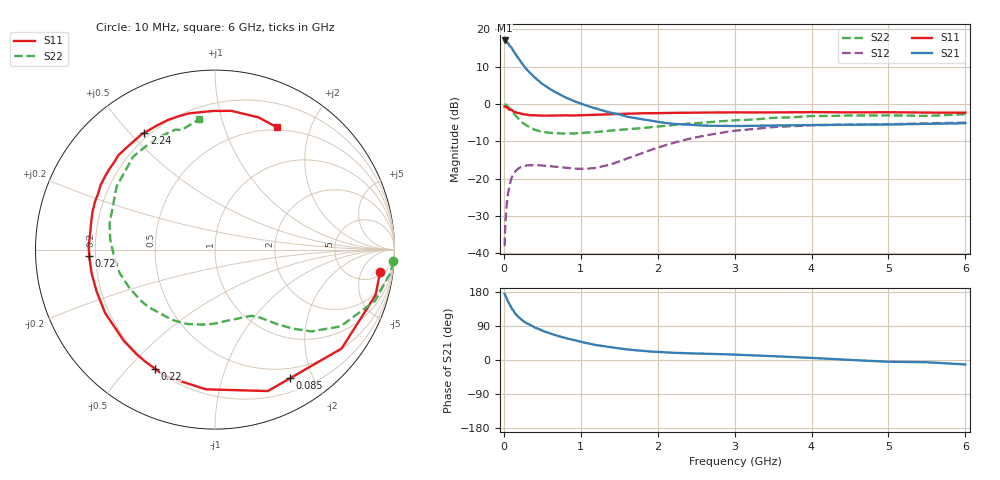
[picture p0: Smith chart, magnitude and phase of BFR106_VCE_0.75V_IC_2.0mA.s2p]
! Infineon Technologies  Discrete & RF Semiconductors
! BFR106
! VCE = 0.75 V,  IC =  2.0 mA
! Common Emitter S-Parameters:  Nov 2015
# GHz  S  MA  R  50
!  f  S11  S21  S12  S22
! GHz  MAG  ANG  MAG  ANG  MAG  ANG  MAG  ANG
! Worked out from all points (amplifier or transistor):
!   210 points, 10 MHz to 6 GHz, reference 50 ohm
!   highest |S21| = 17.0 dB at 10 MHz (marker M1)
!   |S21| within 3 dB of that: start of sweep to 130.7 MHz
!   unconditionally stable (mu >= 1): 754.4 MHz to end of sweep
!   at 185 MHz: K = 0.26, MSG = 14.9 dB, |S12| = -17.4 dB
!   at 1.52 GHz: K = 1.32, MAG = 2.8 dB, |S12| = -15.2 dB
!   at 6 GHz: K = 1.03, MAG = -1.1 dB, |S12| = -5.0 dB
!   S11 on the Smith chart (normalised r, x): 10 MHz: 6, -11; 85 MHz: 0.36, -1.68; 220 MHz: 0.20, -0.60; 720 MHz: 0.18, -0.02; 2.24 GHz: 0.18, +0.55; 6 GHz: 0.47, +1.52
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0.01  0.9281 -7.8  7.08 174.3  0.0125 87.1  0.9962 -3.8
0.02  0.93 -15.8  7.025 170.2  0.0251 81.8  0.9863 -7.5
0.05  0.8952 -38.0  6.595 155.6  0.0601 68.6  0.9361 -17.8
0.085  0.8299 -59.8  5.868 143.2  0.0893 55.9  0.8497 -26.9
0.1  0.8414 -69.5  5.656 137.0  0.1026 52.7  0.8203 -31.4
0.15  0.7802 -93.7  4.679 121.8  0.1263 40.5  0.7048 -40.3
0.2  0.7581 -111.4  3.95 111.6  0.1394 33.3  0.6184 -45.4
0.22  0.7428 -116.8  3.693 108.4  0.1422 30.9  0.5912 -46.9
0.26  0.728 -127.1  3.239 101.7  0.1475 26.7  0.5432 -50.0
0.3  0.7185 -135.1  2.876 96.5  0.1507 24.1  0.5114 -52.1
0.4  0.7067 -150.1  2.266 86.1  0.152 19.2  0.4522 -56.7
0.5  0.6997 -160.5  1.854 77.3  0.1503 16.8  0.4224 -60.9
0.6  0.7001 -169.4  1.582 69.9  0.1473 16.1  0.4109 -65.6
0.72  0.7013 -177.3  1.352 62.5  0.1427 17.1  0.4047 -71.9
1.02  0.7084 166.4  0.995 47.1  0.1354 26.4  0.4097 -88.3
1.4  0.7319 150.4  0.759 33.3  0.1566 43.4  0.4425 -110.4
2.02  0.7536 128.3  0.573 21.2  0.2642 50.9  0.5019 -146.0
2.24  0.7611 121.2  0.539 18.8  0.3084 48.5  0.5255 -157.8
3.1  0.7707 98.7  0.508 13.4  0.4473 31.7  0.6089 162.0
4.1  0.7766 82.1  0.524 4.5  0.5207 12.6  0.6897 128.9
5.1  0.7734 70.8  0.533 -4.9  0.5382 -0.8  0.7015 107.8
6  0.7635 63.2  0.553 -11.7  0.5641 -9.9  0.7313 97.0
